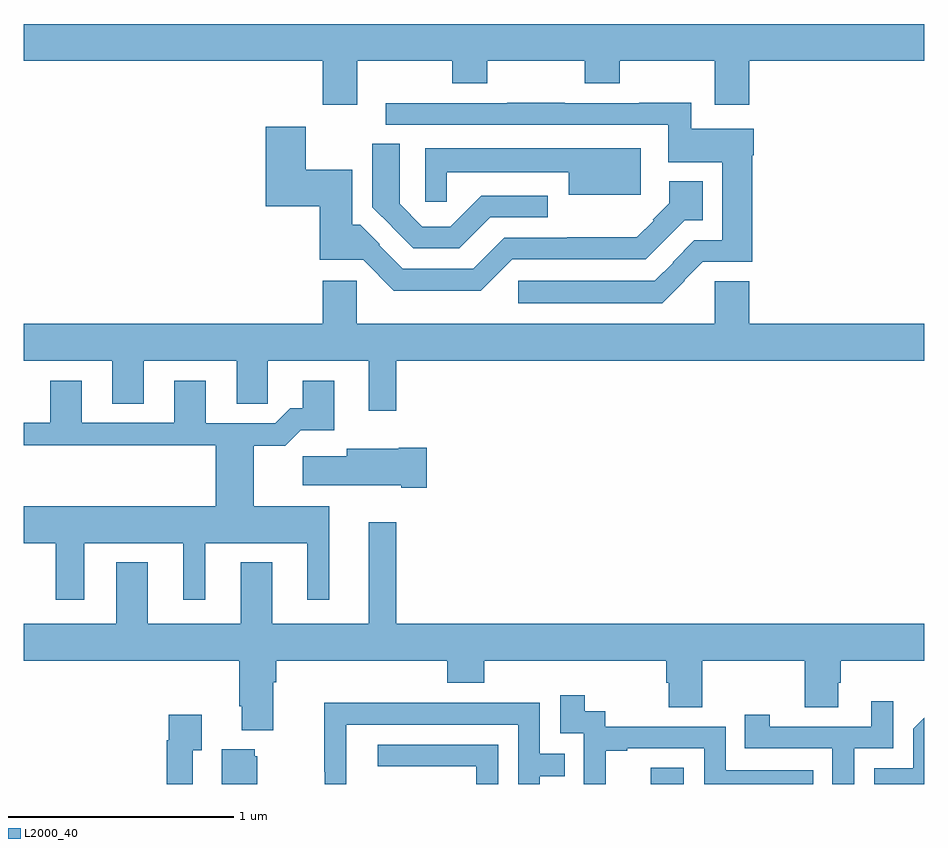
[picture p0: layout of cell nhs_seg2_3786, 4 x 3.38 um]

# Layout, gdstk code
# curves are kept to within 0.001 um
import gdstk
lib = gdstk.Library(unit=1e-6, precision=1e-09)
def R(c, l, rs):  # rectangles x0, y0, x1, y1
    for r in rs: c.add(gdstk.rectangle(r[:2], r[2:], *l))
def P(c, l, *ps):  # polygons
    for p in ps: c.add(gdstk.Polygon(p, *l))
L2000_40 = (2000, 40)

nhs_seg2_3786 = lib.new_cell('nhs_seg2_3786')
R(nhs_seg2_3786, L2000_40, [(313.785,601.8,313.932,601.873)])
P(nhs_seg2_3786, L2000_40, [(312.481,605.012),(312.904,605.012),(312.904,604.913),(313.059,604.913),(313.059,605.012),(313.492,605.012),(313.492,604.913),(313.647,604.913),(313.647,605.012),(314.069,605.012),(314.069,604.818),(314.222,604.818),(314.222,605.012),(315,605.012),(315,605.176),(311,605.176),(311,605.012),(312.329,605.012),(312.329,604.818),(312.481,604.818)],
  [(313.937,604.036),(313.935,604.038),(314.016,604.119),(314.237,604.119),(314.237,604.593),(314.242,604.593),(314.242,604.711),(313.966,604.711),(313.966,604.826),(313.735,604.826),(313.735,604.824),(313.403,604.824),(313.403,604.826),(313.147,604.826),(313.147,604.824),(312.609,604.824),(312.609,604.728),(313.862,604.728),(313.862,604.562),(314.102,604.562),(314.102,604.215),(313.979,604.215),(313.882,604.118),(313.884,604.116),(313.803,604.035),(313.197,604.035),(313.197,603.935),(313.836,603.935)],
  [(313.17,604.131),(313.762,604.131),(313.937,604.304),(314.017,604.304),(314.017,604.477),(313.868,604.477),(313.868,604.379),(313.795,604.306),(313.798,604.303),(313.724,604.229),(313.414,604.229),(313.414,604.227),(313.134,604.227),(312.996,604.089),(312.684,604.089),(312.579,604.194),(312.582,604.197),(312.494,604.285),(312.46,604.285),(312.46,604.528),(312.252,604.528),(312.252,604.72),(312.074,604.72),(312.074,604.367),(312.314,604.367),(312.314,604.128),(312.507,604.128),(312.643,603.992),(313.031,603.992)],
  [(313.072,604.317),(313.327,604.317),(313.327,604.413),(313.032,604.413),(312.894,604.275),(312.771,604.275),(312.67,604.377),(312.67,604.643),(312.548,604.643),(312.548,604.363),(312.731,604.179),(312.934,604.179)],
  [(312.878,604.517),(313.421,604.517),(313.421,604.418),(313.74,604.418),(313.74,604.624),(312.784,604.624),(312.784,604.386),(312.878,604.386)],
  [(312.655,603.68),(315,603.68),(315,603.844),(314.222,603.844),(314.222,604.034),(314.07,604.034),(314.07,603.844),(312.479,603.844),(312.479,604.035),(312.329,604.035),(312.329,603.844),(311,603.844),(311,603.68),(311.393,603.68),(311.393,603.49),(311.533,603.49),(311.533,603.68),(311.945,603.68),(311.945,603.49),(312.084,603.49),(312.084,603.68),(312.533,603.68),(312.533,603.459),(312.655,603.459)],
  [(311.269,602.87),(311.708,602.87),(311.708,602.619),(311.806,602.619),(311.806,602.87),(312.26,602.87),(312.26,602.619),(312.358,602.619),(312.358,603.034),(312.022,603.034),(312.022,603.302),(312.161,603.302),(312.23,603.371),(312.379,603.371),(312.379,603.592),(312.239,603.592),(312.239,603.469),(312.184,603.469),(312.117,603.402),(311.809,603.402),(311.809,603.592),(311.669,603.592),(311.669,603.405),(311.257,603.405),(311.257,603.592),(311.117,603.592),(311.117,603.405),(311,603.405),(311,603.304),(311.852,603.304),(311.852,603.034),(311,603.034),(311,602.87),(311.141,602.87),(311.141,602.619),(311.269,602.619)],
  [(312.79,603.294),(312.666,603.294),(312.666,603.289),(312.434,603.289),(312.434,603.257),(312.24,603.257),(312.24,603.128),(312.677,603.128),(312.677,603.116),(312.79,603.116)],
  [(312.109,602.252),(312.122,602.252),(312.122,602.348),(312.881,602.348),(312.881,602.249),(313.046,602.249),(313.046,602.348),(313.853,602.348),(313.853,602.25),(313.865,602.25),(313.865,602.14),(314.013,602.14),(314.013,602.348),(314.47,602.348),(314.47,602.14),(314.617,602.14),(314.617,602.25),(314.63,602.25),(314.63,602.348),(315,602.348),(315,602.512),(312.655,602.512),(312.655,602.962),(312.533,602.962),(312.533,602.512),(312.103,602.512),(312.103,602.785),(311.963,602.785),(311.963,602.512),(311.551,602.512),(311.551,602.785),(311.411,602.785),(311.411,602.512),(311,602.512),(311,602.348),(311.957,602.348),(311.957,602.146),(311.969,602.146),(311.969,602.039),(312.109,602.039)],
  [(313.586,601.947),(313.681,601.947),(313.681,601.959),(314.022,601.959),(314.022,601.8),(314.507,601.8),(314.507,601.86),(314.118,601.86),(314.118,602.055),(313.584,602.055),(313.584,602.124),(313.492,602.124),(313.492,602.194),(313.383,602.194),(313.383,602.025),(313.488,602.025),(313.488,601.8),(313.586,601.8)],
  [(314.688,601.959),(314.862,601.959),(314.862,602.167),(314.765,602.167),(314.765,602.055),(314.314,602.055),(314.314,602.107),(314.203,602.107),(314.203,601.959),(314.592,601.959),(314.592,601.8),(314.688,601.8)],
  [(312.432,602.064),(313.197,602.064),(313.197,601.8),(313.293,601.8),(313.293,601.834),(313.403,601.834),(313.403,601.935),(313.293,601.935),(313.293,602.16),(312.797,602.16),(312.797,602.162),(312.334,602.162),(312.334,601.855),(312.336,601.855),(312.336,601.8),(312.432,601.8)],
  [(311.751,601.951),(311.791,601.951),(311.791,602.107),(311.643,602.107),(311.643,601.994),(311.635,601.994),(311.635,601.8),(311.751,601.8)],
  [(315,602.094),(314.952,602.046),(314.952,601.869),(314.778,601.869),(314.778,601.8),(315,601.8)],
  [(313.107,601.974),(312.573,601.974),(312.573,601.878),(313.011,601.878),(313.011,601.8),(313.107,601.8)],
  [(312.037,601.923),(312.026,601.923),(312.026,601.954),(311.879,601.954),(311.879,601.8),(312.037,601.8)])

lib.write_gds('nhs_seg2_3786.gds')
